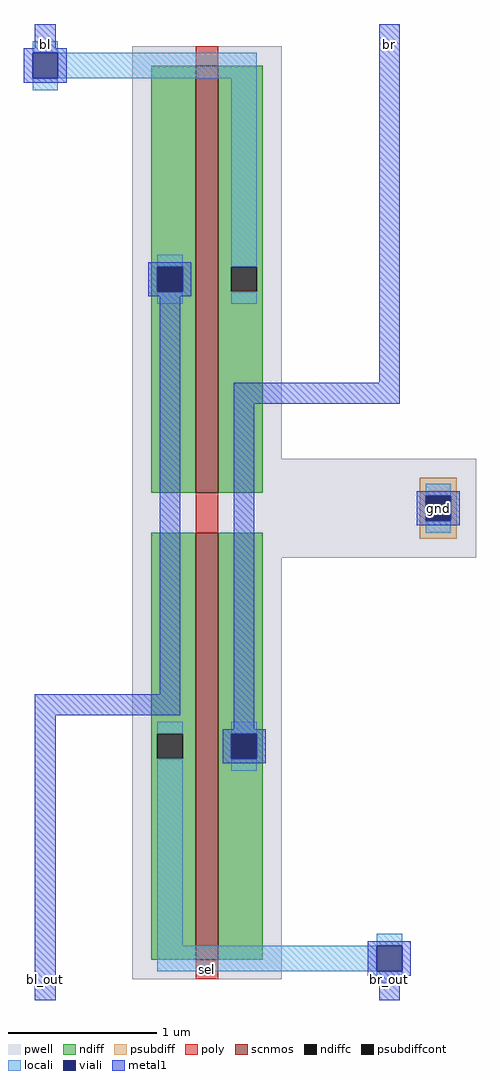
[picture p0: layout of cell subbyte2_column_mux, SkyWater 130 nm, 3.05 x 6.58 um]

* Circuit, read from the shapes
.subckt subbyte2_column_mux sel bl br bl_out br_out gnd
XM1 br sel br_out gnd sky130_fd_pr__nfet_01v8 w=2.88 l=0.15
XM2 bl sel bl_out gnd sky130_fd_pr__nfet_01v8 w=2.88 l=0.15
.ends

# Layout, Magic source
magic
tech sky130A
magscale 1 2
<< pwell >>
rect 211 730 413 1286
rect 211 596 675 730
rect 211 28 413 596
<< scnmos >>
rect 297 684 327 1260
rect 297 54 327 630
<< ndiff >>
rect 237 989 297 1260
rect 237 955 245 989
rect 279 955 297 989
rect 237 684 297 955
rect 327 989 387 1260
rect 327 955 345 989
rect 379 955 387 989
rect 327 684 387 955
rect 237 359 297 630
rect 237 325 245 359
rect 279 325 297 359
rect 237 54 297 325
rect 327 359 387 630
rect 327 325 345 359
rect 379 325 387 359
rect 327 54 387 325
<< ndiffc >>
rect 245 955 279 989
rect 345 955 379 989
rect 245 325 279 359
rect 345 325 379 359
<< psubdiff >>
rect 599 680 649 704
rect 599 646 607 680
rect 641 646 649 680
rect 599 622 649 646
<< psubdiffcont >>
rect 607 646 641 680
<< poly >>
rect 297 1260 327 1286
rect 297 630 327 684
rect 297 28 327 54
<< locali >>
rect 77 1277 111 1293
rect 111 1243 379 1277
rect 77 1227 111 1243
rect 245 989 279 1005
rect 245 939 279 955
rect 345 989 379 1243
rect 345 939 379 955
rect 607 680 641 696
rect 607 630 641 646
rect 245 359 279 375
rect 245 73 279 325
rect 345 359 379 375
rect 345 309 379 325
rect 541 73 575 89
rect 245 39 541 73
rect 541 23 575 39
<< viali >>
rect 77 1243 111 1277
rect 245 955 279 989
rect 607 646 641 680
rect 345 325 379 359
rect 541 39 575 73
<< metal1 >>
rect 80 1283 108 1316
rect 65 1277 123 1283
rect 65 1243 77 1277
rect 111 1243 123 1277
rect 65 1237 123 1243
rect 233 989 291 995
rect 233 955 245 989
rect 279 955 291 989
rect 233 949 291 955
rect 248 412 276 949
rect 544 832 572 1316
rect 80 384 276 412
rect 348 804 572 832
rect 80 0 108 384
rect 348 365 376 804
rect 595 680 653 686
rect 595 646 607 680
rect 641 646 653 680
rect 595 640 653 646
rect 333 359 391 365
rect 333 325 345 359
rect 379 325 391 359
rect 333 319 391 325
rect 529 73 587 79
rect 529 39 541 73
rect 575 39 587 73
rect 529 33 587 39
rect 544 0 572 33
<< labels >>
rlabel poly s 312 41 312 41 4 sel
port 2 nsew
rlabel metal1 s 80 1260 108 1316 4 bl
port 4 nsew
rlabel metal1 s 544 1260 572 1316 4 br
port 6 nsew
rlabel metal1 s 80 0 108 56 4 bl_out
port 8 nsew
rlabel metal1 s 544 0 572 56 4 br_out
port 10 nsew
rlabel metal1 s 610 649 638 677 4 gnd
port 12 nsew
<< properties >>
string FIXED_BBOX 0 0 624 597
<< end >>
